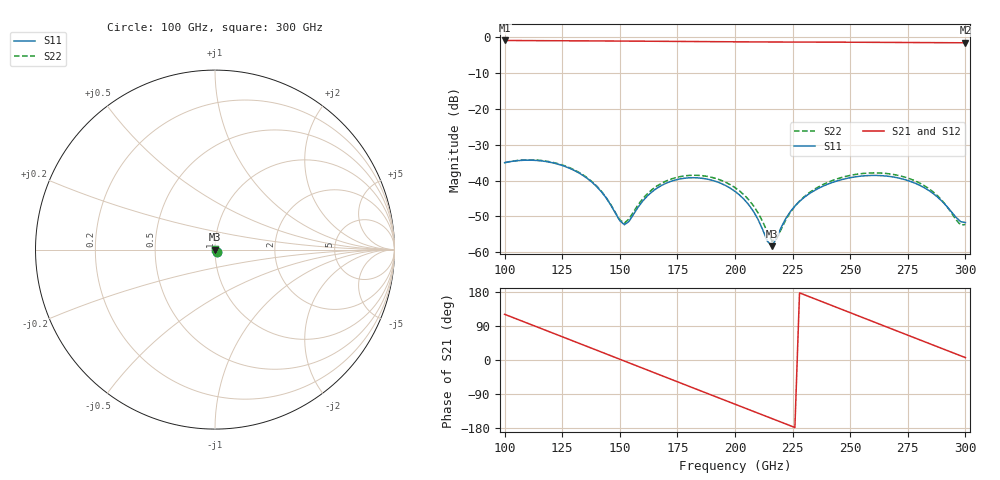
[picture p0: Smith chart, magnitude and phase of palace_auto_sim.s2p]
#  GHZ S DB R 50
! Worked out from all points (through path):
!   101 points, 100 GHz to 300 GHz, reference 50 ohm
!   highest |S21| = -1.05 dB at 100 GHz (marker M1); lowest = -1.7 dB at 300 GHz (marker M2)
!   group delay of S21, straight-line fit = 6.59 ps
!   lowest |S11| = -58.3 dB at 216 GHz (marker M3), VSWR 1.00, Z = 50 - j0.122 ohm
!   |S11| at or under -10 dB: start of sweep to end of sweep
!   |S22| runs from -56.7 to -34.3 dB; largest |S21 - S12| = 1e-13
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100  -35.05 -53.2  -1.05 120.6  -1.05 120.6  -35.04 -53.4
108  -34.37 -69.4  -1.08 101.7  -1.08 101.7  -34.30 -69.6
116  -34.55 -86.3  -1.10 82.7  -1.10 82.7  -34.43 -86.5
124  -35.61 -103.7  -1.13 63.8  -1.13 63.8  -35.47 -103.9
134  -38.58 -124.4  -1.16 40.0  -1.16 40.0  -38.41 -124.5
142  -43.12 -135.9  -1.19 21.0  -1.19 21.0  -42.97 -135.6
152  -52.29 -92.7  -1.22 -2.8  -1.22 -2.8  -51.82 -89.5
162  -44.28 -50.8  -1.26 -26.5  -1.26 -26.5  -43.65 -50.6
168  -41.41 -59.3  -1.28 -40.8  -1.28 -40.8  -40.80 -59.2
184  -39.27 -95.8  -1.35 -78.8  -1.35 -78.8  -38.56 -95.3
200  -43.02 -134.0  -1.42 -116.7  -1.42 -116.7  -41.97 -133.0
208  -48.58 -146.0  -1.45 -135.6  -1.45 -135.6  -47.00 -145.5
214  -56.82 -122.9  -1.47 -149.7  -1.47 -149.7  -54.29 -131.8
216  -58.26 -89.6  -1.47 -154.5  -1.47 -154.5  -56.75 -107.5
218  -56.05 -60.7  -1.48 -159.2  -1.48 -159.2  -56.28 -75.3
224  -48.67 -43.6  -1.49 -173.4  -1.49 -173.4  -48.87 -45.4
234  -42.96 -56.7  -1.50 162.9  -1.50 162.9  -42.62 -55.5
252  -39.00 -95.2  -1.54 120.1  -1.54 120.1  -38.34 -92.7
268  -38.95 -137.1  -1.59 82.1  -1.59 82.1  -38.23 -133.5
284  -42.72 171.7  -1.65 44.2  -1.65 44.2  -42.19 177.3
298  -51.46 77.3  -1.69 11.0  -1.69 11.0  -52.38 77.8
300  -51.69 50.3  -1.70 6.3  -1.70 6.3  -52.25 46.1
